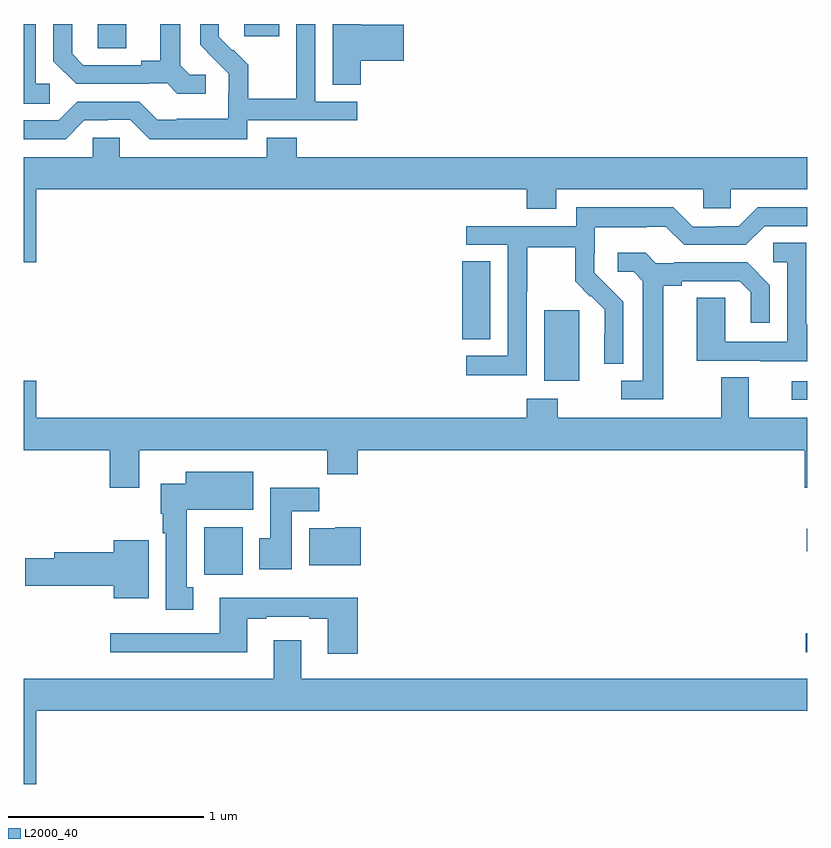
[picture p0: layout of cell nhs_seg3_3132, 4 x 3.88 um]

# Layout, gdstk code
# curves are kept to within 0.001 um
import gdstk
lib = gdstk.Library(unit=1e-6, precision=1e-09)
def R(c, l, rs):  # rectangles x0, y0, x1, y1
    for r in rs: c.add(gdstk.rectangle(r[:2], r[2:], *l))
def P(c, l, *ps):  # polygons
    for p in ps: c.add(gdstk.Polygon(p, *l))
L2000_40 = (2000, 40)

nhs_seg3_3132 = lib.new_cell('nhs_seg3_3132')
R(nhs_seg3_3132, L2000_40, [(276.993,725.192,277,725.289), (273.92,725.588,274.117,725.83), (276.998,725.708,277,725.821), (276.921,726.48,277,726.576), (275.657,726.578,275.836,726.939), (275.24,726.79,275.383,727.187), (273.378,728.275,273.523,728.4), (274.124,728.337,274.303,728.4)])
P(nhs_seg3_3132, L2000_40, [(273.928,728.142),(273.846,728.142),(273.799,728.189),(273.799,728.4),(273.695,728.4),(273.695,728.213),(273.599,728.213),(273.599,728.19),(273.304,728.19),(273.247,728.247),(273.247,728.4),(273.15,728.4),(273.15,728.21),(273.266,728.094),(273.638,728.094),(273.638,728.097),(273.732,728.097),(273.784,728.045),(273.928,728.045)],
  [(274.721,728.213),(274.939,728.213),(274.939,728.396),(274.721,728.396),(274.721,728.4),(274.577,728.4),(274.577,728.089),(274.721,728.089)],
  [(274.14,727.908),(274.702,727.908),(274.702,728.004),(274.488,728.004),(274.488,728.4),(274.392,728.4),(274.392,728.24),(274.39,728.24),(274.39,728.017),(274.145,728.017),(274.145,728.191),(274.068,728.268),(274.065,728.265),(273.995,728.336),(273.995,728.4),(273.9,728.4),(273.9,728.294),(274.046,728.146),(274.046,728.049),(274.044,728.049),(274.044,727.915),(273.781,727.915),(273.781,727.911),(273.681,727.911),(273.588,728.004),(273.273,728.004),(273.177,727.908),(273,727.908),(273,727.812),(273.213,727.812),(273.309,727.908),(273.428,727.908),(273.428,727.911),(273.543,727.911),(273.643,727.811),(274.14,727.811)],
  [(273.133,728.094),(273.06,728.094),(273.06,728.4),(273,728.4),(273,727.993),(273.133,727.993)],
  [(273.064,727.556),(275.567,727.556),(275.567,727.457),(275.719,727.457),(275.719,727.556),(276.471,727.556),(276.471,727.458),(276.609,727.458),(276.609,727.556),(277,727.556),(277,727.72),(274.394,727.72),(274.394,727.819),(274.241,727.819),(274.241,727.72),(273.489,727.72),(273.489,727.818),(273.351,727.818),(273.351,727.72),(273,727.72),(273,727.182),(273.064,727.182)],
  [(275.568,727.036),(275.571,727.036),(275.571,727.26),(275.815,727.26),(275.815,727.085),(275.892,727.008),(275.895,727.011),(275.966,726.941),(275.966,726.818),(275.964,726.818),(275.964,726.664),(276.06,726.664),(276.06,726.982),(275.914,727.13),(275.914,727.227),(275.916,727.227),(275.916,727.361),(276.179,727.361),(276.179,727.365),(276.279,727.365),(276.372,727.272),(276.687,727.272),(276.783,727.368),(277,727.368),(277,727.464),(276.747,727.464),(276.651,727.368),(276.533,727.368),(276.533,727.365),(276.417,727.365),(276.317,727.465),(275.82,727.465),(275.82,727.368),(275.259,727.368),(275.259,727.272),(275.472,727.272),(275.472,726.705),(275.259,726.705),(275.259,726.607),(275.568,726.607)],
  [(277,726.867),(276.996,726.867),(276.996,727.283),(276.828,727.283),(276.828,727.182),(276.9,727.182),(276.9,726.777),(276.582,726.777),(276.582,727.001),(276.437,727.001),(276.437,726.681),(276.761,726.681),(276.761,726.677),(277,726.677)],
  [(276.265,727.064),(276.361,727.064),(276.361,727.086),(276.656,727.086),(276.713,727.029),(276.713,726.873),(276.81,726.873),(276.81,727.066),(276.694,727.182),(276.322,727.182),(276.322,727.179),(276.228,727.179),(276.176,727.231),(276.033,727.231),(276.033,727.134),(276.114,727.134),(276.161,727.087),(276.161,726.579),(276.051,726.579),(276.051,726.483),(276.265,726.483)],
  [(273.589,726.224),(274.549,726.224),(274.549,726.1),(274.706,726.1),(274.706,726.224),(276.989,726.224),(276.989,726.03),(277,726.03),(277,726.388),(276.703,726.388),(276.703,726.596),(276.563,726.596),(276.563,726.388),(275.727,726.388),(275.727,726.487),(275.567,726.487),(275.567,726.388),(273.064,726.388),(273.064,726.577),(273,726.577),(273,726.224),(273.437,726.224),(273.437,726.03),(273.589,726.03)],
  [(273.865,725.522),(273.832,725.522),(273.832,725.918),(274.171,725.918),(274.171,726.112),(273.827,726.112),(273.827,726.052),(273.698,726.052),(273.698,725.898),(273.71,725.898),(273.71,725.798),(273.725,725.798),(273.725,725.409),(273.865,725.409)],
  [(274.369,725.912),(274.508,725.912),(274.508,726.03),(274.259,726.03),(274.259,725.772),(274.202,725.772),(274.202,725.616),(274.369,725.616)],
  [(274.721,725.83),(274.59,725.83),(274.59,725.824),(274.457,725.824),(274.457,725.636),(274.721,725.636)],
  [(273.637,725.764),(273.458,725.764),(273.458,725.702),(273.155,725.702),(273.155,725.672),(273.006,725.672),(273.006,725.53),(273.458,725.53),(273.458,725.468),(273.637,725.468)],
  [(274.706,725.47),(274.001,725.47),(274.001,725.289),(273.441,725.289),(273.441,725.192),(274.141,725.192),(274.141,725.361),(274.237,725.361),(274.237,725.373),(274.457,725.373),(274.457,725.361),(274.553,725.361),(274.553,725.184),(274.706,725.184)],
  [(273.064,724.892),(277,724.892),(277,725.056),(274.417,725.056),(274.417,725.251),(274.277,725.251),(274.277,725.056),(273,725.056),(273,724.518),(273.064,724.518)])

lib.write_gds('nhs_seg3_3132.gds')
